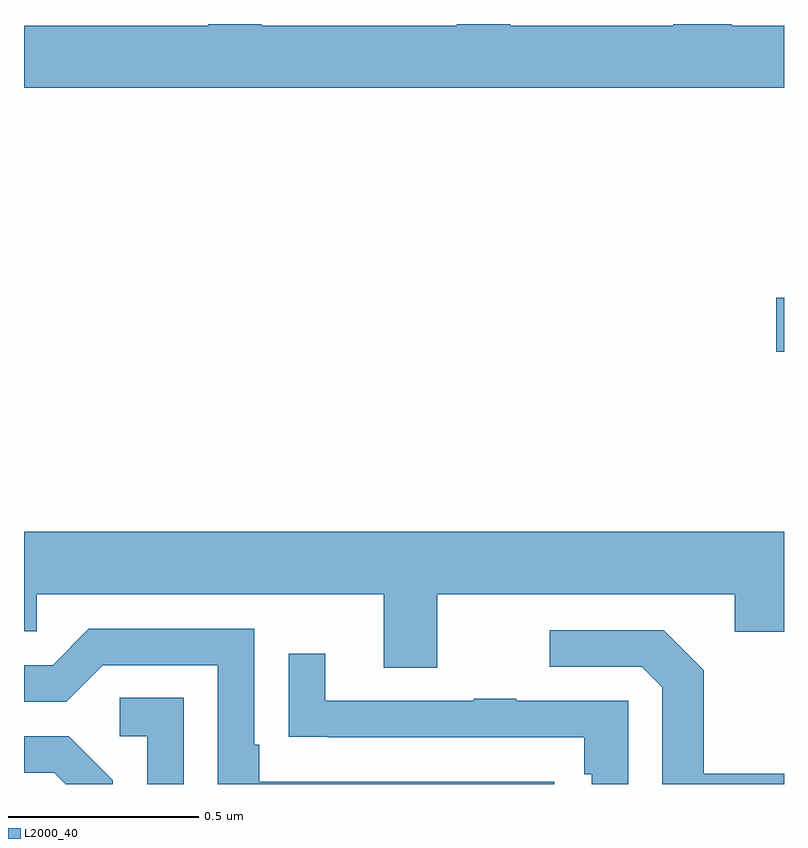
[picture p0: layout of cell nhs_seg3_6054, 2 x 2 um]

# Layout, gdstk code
import gdstk
lib = gdstk.Library(unit=1e-6, precision=1e-09)
def R(c, l, rs):  # rectangles x0, y0, x1, y1
    for r in rs: c.add(gdstk.rectangle(r[:2], r[2:], *l))
def P(c, l, *ps):  # polygons
    for p in ps: c.add(gdstk.Polygon(p, *l))
L2000_40 = (2000, 40)

nhs_seg3_6054 = lib.new_cell('nhs_seg3_6054')
R(nhs_seg3_6054, L2000_40, [(187.98,717.538,188,717.68)])
P(nhs_seg3_6054, L2000_40, [(188,718.396),(187.862,718.396),(187.862,718.4),(187.709,718.4),(187.709,718.396),(187.279,718.396),(187.279,718.4),(187.139,718.4),(187.139,718.396),(186.625,718.396),(186.625,718.4),(186.485,718.4),(186.485,718.396),(186,718.396),(186,718.232),(188,718.232)],
  [(187.087,716.9),(187.871,716.9),(187.871,716.801),(188,716.801),(188,717.064),(186,717.064),(186,716.802),(186.033,716.802),(186.033,716.9),(186.947,716.9),(186.947,716.706),(187.087,716.706)],
  [(187.396,716.406),(186.619,716.406),(186.619,716.503),(186.606,716.503),(186.606,716.808),(186.171,716.808),(186.075,716.712),(186,716.712),(186,716.616),(186.111,716.616),(186.207,716.712),(186.51,716.712),(186.51,716.4),(187.396,716.4)],
  [(188,716.427),(187.789,716.427),(187.789,716.699),(187.683,716.805),(187.383,716.805),(187.383,716.709),(187.626,716.709),(187.68,716.655),(187.68,716.4),(188,716.4)],
  [(187.59,716.619),(187.295,716.619),(187.295,716.624),(187.183,716.624),(187.183,716.619),(186.793,716.619),(186.793,716.743),(186.697,716.743),(186.697,716.524),(186.799,716.524),(186.799,716.523),(187.474,716.523),(187.474,716.426),(187.494,716.426),(187.494,716.4),(187.59,716.4)],
  [(186.42,716.627),(186.252,716.627),(186.252,716.526),(186.324,716.526),(186.324,716.4),(186.42,716.4)],
  [(186.234,716.41),(186.118,716.526),(186,716.526),(186,716.43),(186.08,716.43),(186.11,716.4),(186.234,716.4)])

lib.write_gds('nhs_seg3_6054.gds')
